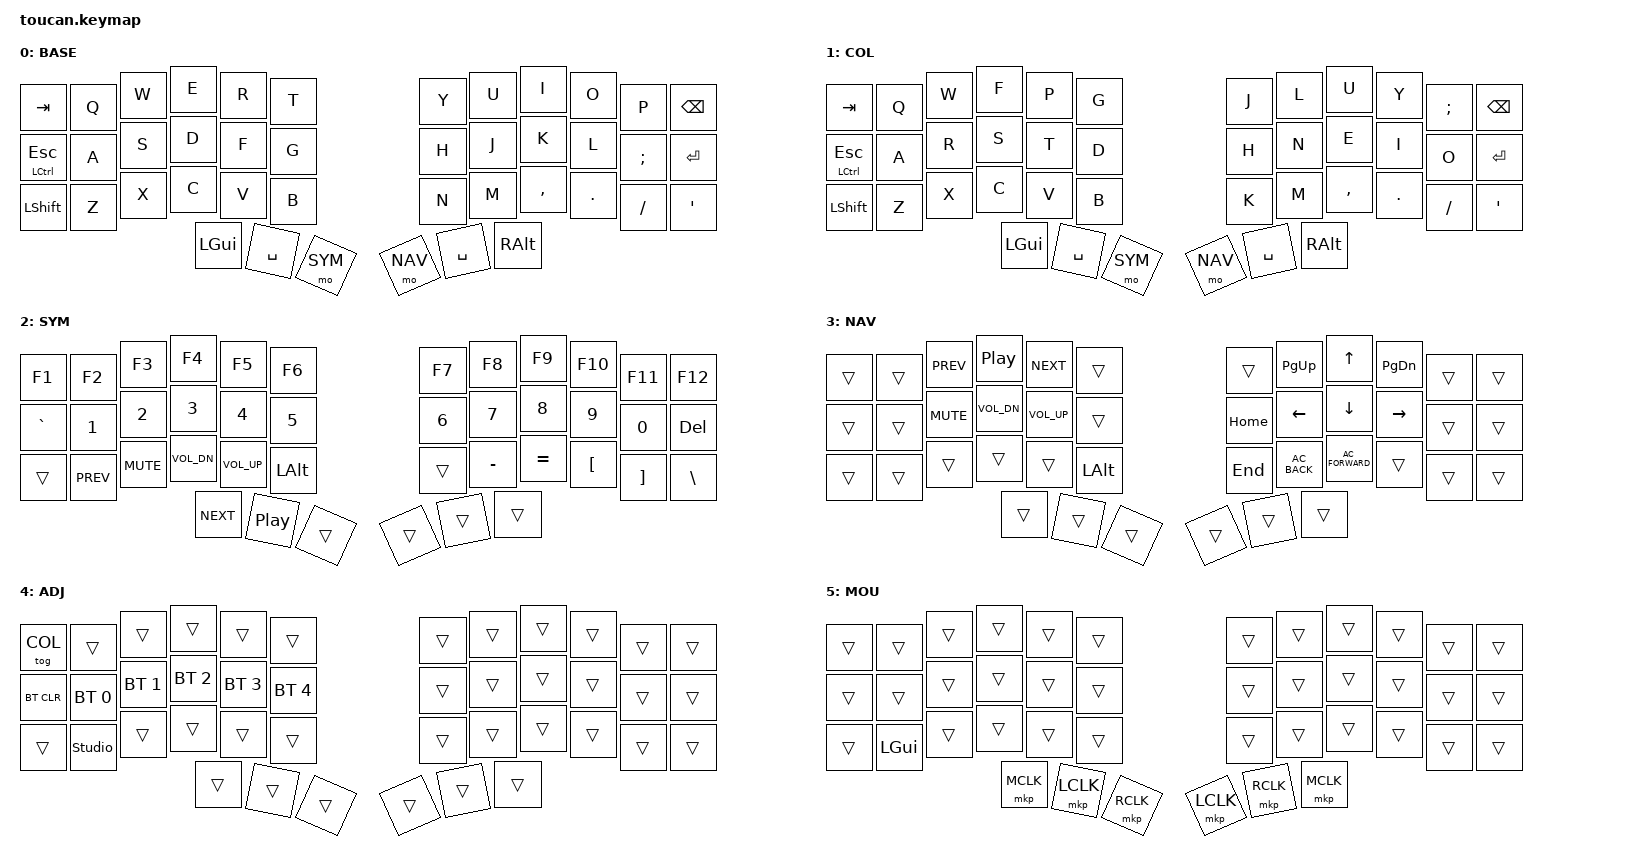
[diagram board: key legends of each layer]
#include <behaviors.dtsi>
#include <dt-bindings/zmk/bt.h>
#include <dt-bindings/zmk/keys.h>
#include <dt-bindings/zmk/pointing.h>

#define BASE 0
#define COL  1
#define SYM  2
#define NAV  3
#define ADJ  4
#define MOU  5

/ {
    conditional_layers {
        compatible = "zmk,conditional-layers";

        tri_layer {
            if-layers = <SYM NAV>;
            then-layer = <ADJ>;
        };
    };

    keymap {
        compatible = "zmk,keymap";

        base {
            display-name = "BASE";
            bindings = <
&kp TAB        &kp Q  &kp W  &kp E     &kp R      &kp T    &kp Y    &kp U      &kp I      &kp O    &kp P     &kp BSPC
&mt LCTRL ESC  &kp A  &kp S  &kp D     &kp F      &kp G    &kp H    &kp J      &kp K      &kp L    &kp SEMI  &kp RET
&kp LSHFT      &kp Z  &kp X  &kp C     &kp V      &kp B    &kp N    &kp M      &kp COMMA  &kp DOT  &kp FSLH  &kp SINGLE_QUOTE
                             &kp LGUI  &kp SPACE  &mo SYM  &mo NAV  &kp SPACE  &kp RALT
            >;
        };

        // COL is layer 1: directly above BASE so it must stay BELOW SYM/NAV/ADJ
        // (layers 2-4) in the layer order, otherwise its bindings would shadow the
        // numbers, arrows and the ADJ toggle (ZMK resolves from the highest layer down).

        colemak {
            display-name = "COL";
            bindings = <
&kp TAB        &kp Q  &kp W  &kp F     &kp P      &kp G    &kp J    &kp L      &kp U      &kp Y    &kp SEMI  &kp BSPC
&mt LCTRL ESC  &kp A  &kp R  &kp S     &kp T      &kp D    &kp H    &kp N      &kp E      &kp I    &kp O     &kp RET
&kp LSHFT      &kp Z  &kp X  &kp C     &kp V      &kp B    &kp K    &kp M      &kp COMMA  &kp DOT  &kp FSLH  &kp SINGLE_QUOTE
                             &kp LGUI  &kp SPACE  &mo SYM  &mo NAV  &kp SPACE  &kp RALT
            >;
        };

        symbol {
            display-name = "SYM";
            bindings = <
&kp F1     &kp F2      &kp F3      &kp F4        &kp F5        &kp F6        &kp F7  &kp F8     &kp F9     &kp F10           &kp F11            &kp F12
&kp GRAVE  &kp N1      &kp N2      &kp N3        &kp N4        &kp N5        &kp N6  &kp N7     &kp N8     &kp N9            &kp N0             &kp DEL
&trans     &kp C_PREV  &kp C_MUTE  &kp C_VOL_DN  &kp C_VOL_UP  &kp LEFT_ALT  &trans  &kp MINUS  &kp EQUAL  &kp LEFT_BRACKET  &kp RIGHT_BRACKET  &kp BACKSLASH
                                   &kp C_NEXT    &kp C_PP      &trans        &trans  &trans     &trans
            >;
        };

        navigation {
            display-name = "NAV";
            bindings = <
&trans  &trans  &kp C_PREV  &kp C_PLAY_PAUSE  &kp C_NEXT    &trans        &trans    &kp PAGE_UP    &kp UP            &kp PAGE_DOWN  &trans  &trans
&trans  &trans  &kp C_MUTE  &kp C_VOL_DN      &kp C_VOL_UP  &trans        &kp HOME  &kp LEFT       &kp DOWN          &kp RIGHT      &trans  &trans
&trans  &trans  &trans      &trans            &trans        &kp LEFT_ALT  &kp END   &kp C_AC_BACK  &kp C_AC_FORWARD  &trans         &trans  &trans
                            &trans            &trans        &trans        &trans    &trans         &trans
            >;
        };

        adjust {
            display-name = "ADJ";
            bindings = <
&tog COL    &trans          &trans        &trans        &trans        &trans        &trans  &trans  &trans  &trans  &trans  &trans
&bt BT_CLR  &bt BT_SEL 0    &bt BT_SEL 1  &bt BT_SEL 2  &bt BT_SEL 3  &bt BT_SEL 4  &trans  &trans  &trans  &trans  &trans  &trans
&trans      &studio_unlock  &trans        &trans        &trans        &trans        &trans  &trans  &trans  &trans  &trans  &trans
                                          &trans        &trans        &trans        &trans  &trans  &trans
            >;
        };

        mouse {
            display-name = "MOU";
            bindings = <
&trans  &trans    &trans  &trans     &trans     &trans     &trans     &trans     &trans     &trans  &trans  &trans
&trans  &trans    &trans  &trans     &trans     &trans     &trans     &trans     &trans     &trans  &trans  &trans
&trans  &kp LGUI  &trans  &trans     &trans     &trans     &trans     &trans     &trans     &trans  &trans  &trans
                          &mkp MCLK  &mkp LCLK  &mkp RCLK  &mkp LCLK  &mkp RCLK  &mkp MCLK
            >;
        };

        extra_3 { status = "reserved"; };
    };
};
